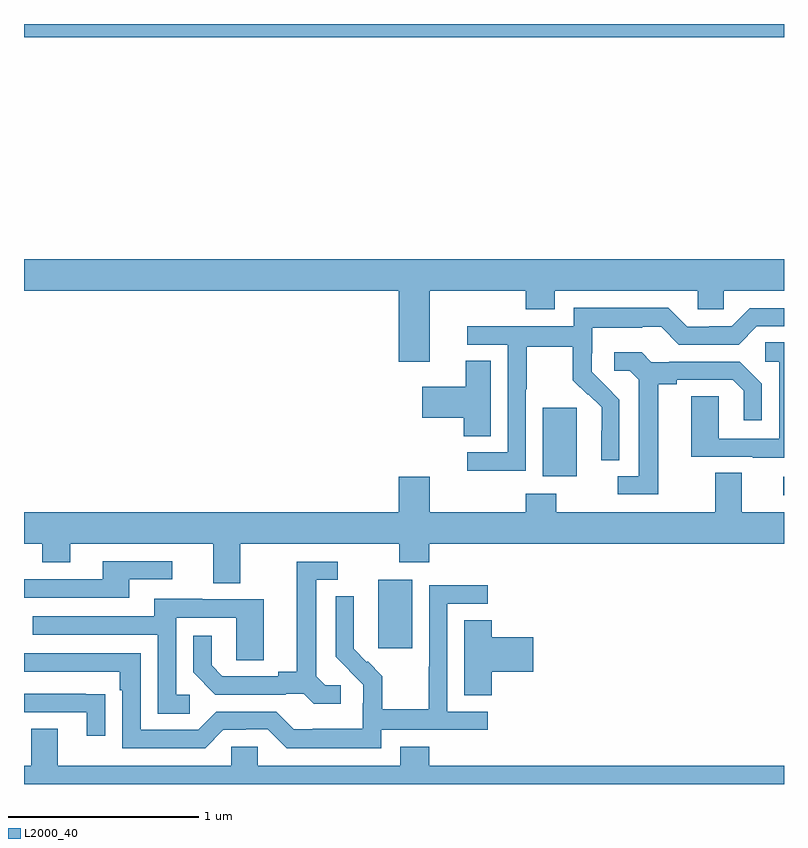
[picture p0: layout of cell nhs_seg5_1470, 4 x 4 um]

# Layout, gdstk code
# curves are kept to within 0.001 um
import gdstk
lib = gdstk.Library(unit=1e-6, precision=1e-09)
def R(c, l, rs):  # rectangles x0, y0, x1, y1
    for r in rs: c.add(gdstk.rectangle(r[:2], r[2:], *l))
def P(c, l, *ps):  # polygons
    for p in ps: c.add(gdstk.Polygon(p, *l))
L2000_40 = (2000, 40)

nhs_seg5_1470 = lib.new_cell('nhs_seg5_1470')
R(nhs_seg5_1470, L2000_40, [(200.864,885.513,201.043,885.874), (202.995,886.32,203,886.416), (201.731,886.418,201.91,886.779), (199,888.728,203,888.799)])
P(nhs_seg5_1470, L2000_40, [(199,887.396),(200.972,887.396),(200.972,887.022),(201.136,887.022),(201.136,887.396),(201.641,887.396),(201.641,887.297),(201.793,887.297),(201.793,887.396),(202.545,887.396),(202.545,887.298),(202.683,887.298),(202.683,887.396),(203,887.396),(203,887.56),(199,887.56)],
  [(201.642,886.876),(201.645,886.876),(201.645,887.1),(201.889,887.1),(201.889,886.925),(201.966,886.848),(201.969,886.851),(202.04,886.781),(202.04,886.658),(202.038,886.658),(202.038,886.504),(202.134,886.504),(202.134,886.822),(201.988,886.97),(201.988,887.067),(201.99,887.067),(201.99,887.201),(202.253,887.201),(202.253,887.205),(202.353,887.205),(202.446,887.112),(202.761,887.112),(202.857,887.208),(203,887.208),(203,887.304),(202.821,887.304),(202.725,887.208),(202.607,887.208),(202.607,887.205),(202.491,887.205),(202.391,887.305),(201.894,887.305),(201.894,887.208),(201.333,887.208),(201.333,887.112),(201.546,887.112),(201.546,886.545),(201.333,886.545),(201.333,886.447),(201.642,886.447)],
  [(203,887.123),(202.902,887.123),(202.902,887.022),(202.974,887.022),(202.974,886.617),(202.656,886.617),(202.656,886.841),(202.511,886.841),(202.511,886.521),(202.835,886.521),(202.835,886.517),(203,886.517)],
  [(202.339,886.904),(202.435,886.904),(202.435,886.926),(202.73,886.926),(202.787,886.869),(202.787,886.713),(202.884,886.713),(202.884,886.906),(202.768,887.022),(202.396,887.022),(202.396,887.019),(202.302,887.019),(202.25,887.071),(202.107,887.071),(202.107,886.974),(202.188,886.974),(202.235,886.927),(202.235,886.419),(202.125,886.419),(202.125,886.323),(202.339,886.323)],
  [(201.457,887.027),(201.326,887.027),(201.326,886.891),(201.096,886.891),(201.096,886.726),(201.314,886.726),(201.314,886.63),(201.457,886.63)],
  [(200.137,886.064),(200.974,886.064),(200.974,885.965),(201.134,885.965),(201.134,886.064),(203,886.064),(203,886.228),(202.777,886.228),(202.777,886.436),(202.637,886.436),(202.637,886.228),(201.801,886.228),(201.801,886.327),(201.641,886.327),(201.641,886.228),(201.136,886.228),(201.136,886.417),(200.972,886.417),(200.972,886.228),(199,886.228),(199,886.064),(199.096,886.064),(199.096,885.965),(199.243,885.965),(199.243,886.064),(199.997,886.064),(199.997,885.856),(200.137,885.856)],
  [(199.555,885.876),(199.78,885.876),(199.78,885.972),(199.415,885.972),(199.415,885.876),(199,885.876),(199,885.78),(199.555,885.78)],
  [(200.668,885.318),(200.586,885.318),(200.539,885.365),(200.539,885.873),(200.65,885.873),(200.65,885.969),(200.435,885.969),(200.435,885.389),(200.339,885.389),(200.339,885.366),(200.044,885.366),(199.987,885.423),(199.987,885.58),(199.89,885.58),(199.89,885.386),(200.006,885.27),(200.378,885.27),(200.378,885.273),(200.472,885.273),(200.524,885.221),(200.668,885.221)],
  [(200.88,885.084),(201.442,885.084),(201.442,885.18),(201.228,885.18),(201.228,885.747),(201.442,885.747),(201.442,885.846),(201.132,885.846),(201.132,885.416),(201.13,885.416),(201.13,885.193),(200.885,885.193),(200.885,885.367),(200.808,885.444),(200.805,885.441),(200.735,885.512),(200.736,885.788),(200.64,885.788),(200.64,885.47),(200.786,885.322),(200.786,885.225),(200.784,885.225),(200.784,885.091),(200.521,885.091),(200.521,885.087),(200.421,885.087),(200.328,885.18),(200.013,885.18),(199.917,885.084),(199.614,885.084),(199.614,885.486),(199,885.486),(199,885.39),(199.505,885.39),(199.505,885.293),(199.518,885.293),(199.518,884.988),(199.953,884.988),(200.049,885.084),(200.168,885.084),(200.168,885.087),(200.283,885.087),(200.383,884.987),(200.88,884.987)],
  [(199.873,885.27),(199.8,885.27),(199.8,885.675),(200.118,885.675),(200.118,885.451),(200.263,885.451),(200.263,885.771),(199.939,885.771),(199.939,885.775),(199.685,885.775),(199.685,885.681),(199.045,885.681),(199.045,885.585),(199.704,885.585),(199.704,885.169),(199.873,885.169)],
  [(201.461,885.389),(201.679,885.389),(201.679,885.572),(201.461,885.572),(201.461,885.662),(201.317,885.662),(201.317,885.265),(201.461,885.265)],
  [(199.427,885.272),(199.325,885.272),(199.325,885.273),(199,885.273),(199,885.177),(199.331,885.177),(199.331,885.054),(199.427,885.054)],
  [(203,884.896),(201.134,884.896),(201.134,884.995),(200.981,884.995),(200.981,884.896),(200.229,884.896),(200.229,884.994),(200.091,884.994),(200.091,884.896),(199.177,884.896),(199.177,885.091),(199.037,885.091),(199.037,884.896),(199,884.896),(199,884.799),(203,884.799)])

lib.write_gds('nhs_seg5_1470.gds')
